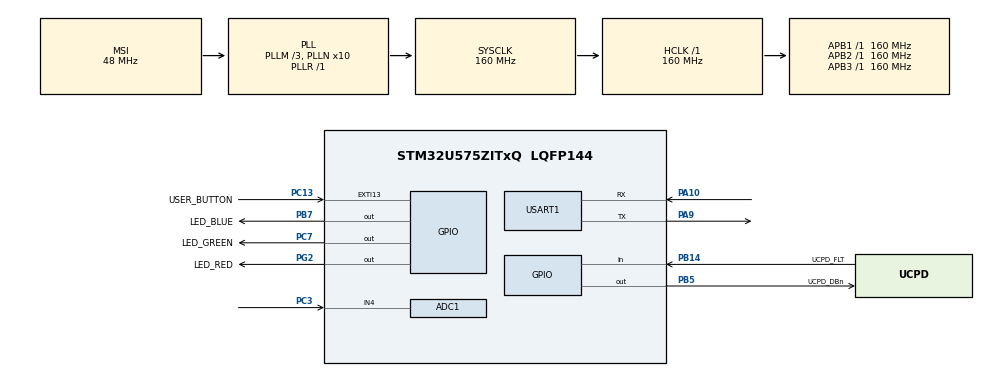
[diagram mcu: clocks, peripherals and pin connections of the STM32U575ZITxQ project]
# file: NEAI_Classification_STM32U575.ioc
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ADC1.Channel-0\#ChannelRegularConversion=ADC_CHANNEL_4
ADC1.ClockPrescaler=ADC_CLOCK_ASYNC_DIV8
ADC1.EnableRegularConversion=ENABLE
ADC1.ExternalTrigConv=ADC_EXTERNALTRIG_T6_TRGO
ADC1.MonitoredBy-0\#ChannelRegularConversion=__NULL
ADC1.NbrOfConversion=1
ADC1.NbrOfConversionFlag=1
ADC1.OffsetNumber-0\#ChannelRegularConversion=ADC_OFFSET_NONE
ADC1.Rank-0\#ChannelRegularConversion=1
ADC1.Resolution=ADC_RESOLUTION_14B
ADC1.SamplingTime-0\#ChannelRegularConversion=ADC_SAMPLETIME_391CYCLES_5
ADC1.master=1
CORTEX_M33_NS.userName=CORTEX_M33
Mcu.Family=STM32U5
Mcu.Name=STM32U575ZITxQ
Mcu.Package=LQFP144
NVIC.ADC1_IRQn=true\:0\:0\:false\:false\:true\:true\:true\:true
NVIC.EXTI13_IRQn=true\:0\:0\:false\:false\:true\:true\:true\:true
NVIC.PriorityGroup=NVIC_PRIORITYGROUP_3
NVIC.TIM17_IRQn=true\:7\:0\:false\:false\:true\:false\:true\:true
NVIC.TimeBase=TIM17_IRQn
NVIC.TimeBaseIP=TIM17
PA10.Mode=Asynchronous
PA10.Signal=USART1_RX
PA11.Signal=USB_OTG_FS_DM
PA12.Signal=USB_OTG_FS_DP
PA13\ (JTMS/SWDIO).Signal=DEBUG_JTMS-SWDIO
PA14\ (JTCK/SWCLK).Signal=DEBUG_JTCK-SWCLK
PA15\ (JTDI).Signal=UCPD1_CC1
PA9.Mode=Asynchronous
PA9.Signal=USART1_TX
PB14.GPIO_Label=UCPD_FLT
PB14.Signal=GPIO_Input
PB15.Signal=UCPD1_CC2
PB3\ (JTDO/TRACESWO).Signal=DEBUG_JTDO-SWO
PB5.GPIO_Label=UCPD_DBn
PB5.Signal=GPIO_Output
PB7.GPIO_Label=LED_BLUE
PB7.Signal=GPIO_Output
PC13.GPIO_Label=USER_BUTTON
PC13.Signal=GPXTI13
PC14-OSC32_IN\ (PC14).Signal=RCC_OSC32_IN
PC15-OSC32_OUT\ (PC15).Signal=RCC_OSC32_OUT
PC2.GPIO_Label=VBUS_SENSE
PC2.Signal=ADC1_IN3
PC3.Mode=IN4-Single-Ended
PC3.Signal=ADC1_IN4
PC7.GPIO_Label=LED_GREEN
PC7.Signal=GPIO_Output
PG2.GPIO_Label=LED_RED
PG2.Signal=GPIO_Output
PWR.PowerMode=PWR_SMPS_SUPPLY
ProjectManager.HeapSize=0x200
ProjectManager.StackSize=0x400
ProjectManager.TargetToolchain=STM32CubeIDE
RCC.ADCFreq_Value=16000000
RCC.AHBFreq_Value=160000000
RCC.APB1Freq_Value=160000000
RCC.APB1TimFreq_Value=160000000
RCC.APB2Freq_Value=160000000
RCC.APB2TimFreq_Value=160000000
RCC.APB3Freq_Value=160000000
RCC.CortexFreq_Value=160000000
RCC.DACCLockSelectionVirtual=RCC_DAC1CLKSOURCE_LSI
RCC.DACCLockSelectionVirtualString=RCC_DAC1CLKSOURCE_LSI
RCC.EPOD_VALUE=48000000
RCC.HCLKFreq_Value=160000000
RCC.HSE_VALUE=16000000
RCC.HSI48_VALUE=48000000
RCC.HSI_VALUE=16000000
RCC.LSE_VALUE=32768
RCC.LSIDIV_VALUE=32000
RCC.MSIClockRange=RCC_MSIRANGE_0
RCC.MSI_VALUE=48000000
RCC.PLL1R=1
RCC.PLL2FRACN=0
RCC.PLL3FRACN=0
RCC.PLLFRACN=0
RCC.PLLM=3
RCC.PLLN=10
RCC.SYSCLKFreq_VALUE=160000000
RCC.SYSCLKSource=RCC_SYSCLKSOURCE_PLLCLK
RCC.USBFreq_Value=48000000
RCC.VCOOutputFreq_Value=160000000
TIM6.PeriodNoDither=999
TIM6.Prescaler=159
TIM6.TIM_MasterOutputTrigger=TIM_TRGO_UPDATE
USART1.VirtualMode-Asynchronous=VM_ASYNC
VP_ICACHE_VS_ICACHE.Mode=DirectMappedCache
VP_LPBAMQUEUE_VS_QUEUE.Mode=QUEUEMODE
VP_LPBAM_VS_SIG1.Mode=SmartRun
VP_LPBAM_VS_SIG4.Mode=LPDMA1
VP_PWR_VS_DBSignals.Mode=DisableDeadBatterySignals
VP_PWR_VS_LPOM.Mode=PowerOptimisation
VP_PWR_VS_SECSignals.Mode=Security/Privilege
VP_SYS_VS_tim17.Mode=TIM17
VP_TIM6_VS_ClockSourceINT.Mode=Enable_Timer
board=NUCLEO-U575ZI-Q

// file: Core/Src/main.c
/* USER CODE BEGIN Header */
/**
  ******************************************************************************
  * @file           : main.c
  * @brief          : Main program body
  ******************************************************************************
  * @attention
  *
  * Copyright (c) 2023 STMicroelectronics.
  * All rights reserved.
  *
  * This software is licensed under terms that can be found in the LICENSE file
  * in the root directory of this software component.
  * If no LICENSE file comes with this software, it is provided AS-IS.
  *
  ******************************************************************************
  */
/* USER CODE END Header */
#include "main.h"

/* USER CODE BEGIN Includes */

#include "stdio.h"
#include "NanoEdgeAI.h"
#include "knowledge.h"

/* USER CODE END Includes */

/* USER CODE BEGIN PTD */

typedef enum
{
  LOG,
  INFERENCE,
} States_t;

/* USER CODE END PTD */

/* USER CODE BEGIN PD */

#define SIGNAL_SIZE  (uint32_t)(DATA_INPUT_USER * AXIS_NUMBER)

/* USER CODE END PD */

ADC_HandleTypeDef hadc1;

TIM_HandleTypeDef htim6;

UART_HandleTypeDef huart1;

/* USER CODE BEGIN PV */

volatile States_t appState = INFERENCE;  /* FSM state */
volatile uint32_t sensorDataReady = RESET;
float input_user_buffer[SIGNAL_SIZE];

uint16_t id_class = 0; // Point to id class (see argument of neai_classification fct)
float input_user_buffer[DATA_INPUT_USER * AXIS_NUMBER]; // Buffer of input values
float output_class_buffer[CLASS_NUMBER]; // Buffer of class probabilities
const char *id2class[CLASS_NUMBER + 1] = { // Buffer for mapping class id to class name
	"unknown",
	"Fan_Off",
	"Speed_1",
	"Speed_2",
	"Speed_3",
	"Clogged",
};

/* USER CODE END PV */

void SystemClock_Config(void);
static void SystemPower_Config(void);
static void MX_GPIO_Init(void);
static void MX_USART1_UART_Init(void);
static void MX_ICACHE_Init(void);
static void MX_ADC1_Init(void);
static void MX_TIM6_Init(void);
/* USER CODE BEGIN PFP */

void FillBuffer(float* buffer, uint32_t size);
void PrintBuffer(float *buffer, uint32_t size);
void Log(void);
void Inference(void);

/* USER CODE END PFP */

/* USER CODE BEGIN 0 */

int _write(int fd, char * ptr, int len)
{
  HAL_UART_Transmit(&huart1,(uint8_t *)ptr,len,HAL_MAX_DELAY);
  return len;
}

/* USER CODE END 0 */

int main(void)
{

  /* MCU Configuration--------------------------------------------------------*/

  /* Reset of all peripherals, Initializes the Flash interface and the Systick. */
  HAL_Init();

  /* Configure the system clock */
  SystemClock_Config();

  /* Configure the System Power */
  SystemPower_Config();

  /* Initialize all configured peripherals */
  MX_GPIO_Init();
  MX_USART1_UART_Init();
  MX_ICACHE_Init();
  MX_ADC1_Init();
  MX_TIM6_Init();
  /* USER CODE BEGIN 2 */

  HAL_PWREx_EnableVddA();
  HAL_ADCEx_Calibration_Start(&hadc1,ADC_CALIB_OFFSET,ADC_SINGLE_ENDED);
  HAL_ADC_Start_IT(&hadc1);
  HAL_TIM_Base_Start(&htim6);

  enum neai_state error_code = neai_classification_init(knowledge);
  if (error_code!=NEAI_OK)
  {
    printf("Knowledge initialization ERROR: %d\r\n",error_code);
    Error_Handler();
  }
  else
  {
    printf("Knowledge initialization done\r\n");
  }

  /* USER CODE END 2 */

  /* Infinite loop */
  while (1)
  {

    /* USER CODE BEGIN 3 */

	switch (appState)
	{
	  case LOG:
	    Log();
	  	break;
	  case INFERENCE:
		Inference();
	    break;
	  default:
	    appState = INFERENCE;
	  	break;
	}

  }
  /* USER CODE END 3 */
}

void SystemClock_Config(void)
{
  RCC_OscInitTypeDef RCC_OscInitStruct = {0};
  RCC_ClkInitTypeDef RCC_ClkInitStruct = {0};

  /** Configure the main internal regulator output voltage
  */
  if (HAL_PWREx_ControlVoltageScaling(PWR_REGULATOR_VOLTAGE_SCALE1) != HAL_OK)
  {
    Error_Handler();
  }

  /** Initializes the CPU, AHB and APB buses clocks
  */
  RCC_OscInitStruct.OscillatorType = RCC_OSCILLATORTYPE_HSI|RCC_OSCILLATORTYPE_MSI;
  RCC_OscInitStruct.HSIState = RCC_HSI_ON;
  RCC_OscInitStruct.HSICalibrationValue = RCC_HSICALIBRATION_DEFAULT;
  RCC_OscInitStruct.MSIState = RCC_MSI_ON;
  RCC_OscInitStruct.MSICalibrationValue = RCC_MSICALIBRATION_DEFAULT;
  RCC_OscInitStruct.MSIClockRange = RCC_MSIRANGE_0;
  RCC_OscInitStruct.PLL.PLLState = RCC_PLL_ON;
  RCC_OscInitStruct.PLL.PLLSource = RCC_PLLSOURCE_MSI;
  RCC_OscInitStruct.PLL.PLLMBOOST = RCC_PLLMBOOST_DIV4;
  RCC_OscInitStruct.PLL.PLLM = 3;
  RCC_OscInitStruct.PLL.PLLN = 10;
  RCC_OscInitStruct.PLL.PLLP = 2;
  RCC_OscInitStruct.PLL.PLLQ = 2;
  RCC_OscInitStruct.PLL.PLLR = 1;
  RCC_OscInitStruct.PLL.PLLRGE = RCC_PLLVCIRANGE_1;
  RCC_OscInitStruct.PLL.PLLFRACN = 0;
  if (HAL_RCC_OscConfig(&RCC_OscInitStruct) != HAL_OK)
  {
    Error_Handler();
  }

  /** Initializes the CPU, AHB and APB buses clocks
  */
  RCC_ClkInitStruct.ClockType = RCC_CLOCKTYPE_HCLK|RCC_CLOCKTYPE_SYSCLK
                              |RCC_CLOCKTYPE_PCLK1|RCC_CLOCKTYPE_PCLK2
                              |RCC_CLOCKTYPE_PCLK3;
  RCC_ClkInitStruct.SYSCLKSource = RCC_SYSCLKSOURCE_PLLCLK;
  RCC_ClkInitStruct.AHBCLKDivider = RCC_SYSCLK_DIV1;
  RCC_ClkInitStruct.APB1CLKDivider = RCC_HCLK_DIV1;
  RCC_ClkInitStruct.APB2CLKDivider = RCC_HCLK_DIV1;
  RCC_ClkInitStruct.APB3CLKDivider = RCC_HCLK_DIV1;

  if (HAL_RCC_ClockConfig(&RCC_ClkInitStruct, FLASH_LATENCY_4) != HAL_OK)
  {
    Error_Handler();
  }
}

/**
  * @brief Power Configuration
  * @retval None
  */
static void SystemPower_Config(void)
{
  HAL_PWREx_EnableVddIO2();

  /*
   * Disable the internal Pull-Up in Dead Battery pins of UCPD peripheral
   */
  HAL_PWREx_DisableUCPDDeadBattery();

  /*
   * Switch to SMPS regulator instead of LDO
   */
  if (HAL_PWREx_ConfigSupply(PWR_SMPS_SUPPLY) != HAL_OK)
  {
    Error_Handler();
  }
}

static void MX_ADC1_Init(void)
{

  ADC_ChannelConfTypeDef sConfig = {0};

  /** Common config
  */
  hadc1.Instance = ADC1;
  hadc1.Init.ClockPrescaler = ADC_CLOCK_ASYNC_DIV8;
  hadc1.Init.Resolution = ADC_RESOLUTION_14B;
  hadc1.Init.GainCompensation = 0;
  hadc1.Init.ScanConvMode = ADC_SCAN_DISABLE;
  hadc1.Init.EOCSelection = ADC_EOC_SINGLE_CONV;
  hadc1.Init.LowPowerAutoWait = DISABLE;
  hadc1.Init.ContinuousConvMode = DISABLE;
  hadc1.Init.NbrOfConversion = 1;
  hadc1.Init.DiscontinuousConvMode = DISABLE;
  hadc1.Init.ExternalTrigConv = ADC_EXTERNALTRIG_T6_TRGO;
  hadc1.Init.ExternalTrigConvEdge = ADC_EXTERNALTRIGCONVEDGE_RISING;
  hadc1.Init.DMAContinuousRequests = DISABLE;
  hadc1.Init.TriggerFrequencyMode = ADC_TRIGGER_FREQ_HIGH;
  hadc1.Init.Overrun = ADC_OVR_DATA_PRESERVED;
  hadc1.Init.LeftBitShift = ADC_LEFTBITSHIFT_NONE;
  hadc1.Init.ConversionDataManagement = ADC_CONVERSIONDATA_DR;
  hadc1.Init.OversamplingMode = DISABLE;
  if (HAL_ADC_Init(&hadc1) != HAL_OK)
  {
    Error_Handler();
  }

  /** Configure Regular Channel
  */
  sConfig.Channel = ADC_CHANNEL_4;
  sConfig.Rank = ADC_REGULAR_RANK_1;
  sConfig.SamplingTime = ADC_SAMPLETIME_391CYCLES_5;
  sConfig.SingleDiff = ADC_SINGLE_ENDED;
  sConfig.OffsetNumber = ADC_OFFSET_NONE;
  sConfig.Offset = 0;
  if (HAL_ADC_ConfigChannel(&hadc1, &sConfig) != HAL_OK)
  {
    Error_Handler();
  }

}

static void MX_ICACHE_Init(void)
{

  /** Enable instruction cache in 1-way (direct mapped cache)
  */
  if (HAL_ICACHE_ConfigAssociativityMode(ICACHE_1WAY) != HAL_OK)
  {
    Error_Handler();
  }
  if (HAL_ICACHE_Enable() != HAL_OK)
  {
    Error_Handler();
  }

}

static void MX_TIM6_Init(void)
{

  TIM_MasterConfigTypeDef sMasterConfig = {0};

  htim6.Instance = TIM6;
  htim6.Init.Prescaler = 159;
  htim6.Init.CounterMode = TIM_COUNTERMODE_UP;
  htim6.Init.Period = 999;
  htim6.Init.AutoReloadPreload = TIM_AUTORELOAD_PRELOAD_DISABLE;
  if (HAL_TIM_Base_Init(&htim6) != HAL_OK)
  {
    Error_Handler();
  }
  sMasterConfig.MasterOutputTrigger = TIM_TRGO_UPDATE;
  sMasterConfig.MasterSlaveMode = TIM_MASTERSLAVEMODE_DISABLE;
  if (HAL_TIMEx_MasterConfigSynchronization(&htim6, &sMasterConfig) != HAL_OK)
  {
    Error_Handler();
  }

}

static void MX_USART1_UART_Init(void)
{

  huart1.Instance = USART1;
  huart1.Init.BaudRate = 115200;
  huart1.Init.WordLength = UART_WORDLENGTH_8B;
  huart1.Init.StopBits = UART_STOPBITS_1;
  huart1.Init.Parity = UART_PARITY_NONE;
  huart1.Init.Mode = UART_MODE_TX_RX;
  huart1.Init.HwFlowCtl = UART_HWCONTROL_NONE;
  huart1.Init.OverSampling = UART_OVERSAMPLING_16;
  huart1.Init.OneBitSampling = UART_ONE_BIT_SAMPLE_DISABLE;
  huart1.Init.ClockPrescaler = UART_PRESCALER_DIV1;
  huart1.AdvancedInit.AdvFeatureInit = UART_ADVFEATURE_NO_INIT;
  if (HAL_UART_Init(&huart1) != HAL_OK)
  {
    Error_Handler();
  }
  if (HAL_UARTEx_SetTxFifoThreshold(&huart1, UART_TXFIFO_THRESHOLD_1_8) != HAL_OK)
  {
    Error_Handler();
  }
  if (HAL_UARTEx_SetRxFifoThreshold(&huart1, UART_RXFIFO_THRESHOLD_1_8) != HAL_OK)
  {
    Error_Handler();
  }
  if (HAL_UARTEx_DisableFifoMode(&huart1) != HAL_OK)
  {
    Error_Handler();
  }

}

static void MX_GPIO_Init(void)
{
  GPIO_InitTypeDef GPIO_InitStruct = {0};

  /* GPIO Ports Clock Enable */
  __HAL_RCC_GPIOC_CLK_ENABLE();
  __HAL_RCC_GPIOB_CLK_ENABLE();
  __HAL_RCC_GPIOG_CLK_ENABLE();
  __HAL_RCC_GPIOA_CLK_ENABLE();

  /*Configure GPIO pin Output Level */
  HAL_GPIO_WritePin(LED_RED_GPIO_Port, LED_RED_Pin, GPIO_PIN_RESET);

  /*Configure GPIO pin Output Level */
  HAL_GPIO_WritePin(LED_GREEN_GPIO_Port, LED_GREEN_Pin, GPIO_PIN_RESET);

  /*Configure GPIO pin Output Level */
  HAL_GPIO_WritePin(GPIOB, UCPD_DBn_Pin|LED_BLUE_Pin, GPIO_PIN_RESET);

  /*Configure GPIO pin : USER_BUTTON_Pin */
  GPIO_InitStruct.Pin = USER_BUTTON_Pin;
  GPIO_InitStruct.Mode = GPIO_MODE_IT_RISING;
  GPIO_InitStruct.Pull = GPIO_NOPULL;
  HAL_GPIO_Init(USER_BUTTON_GPIO_Port, &GPIO_InitStruct);

  /*Configure GPIO pin : UCPD_FLT_Pin */
  GPIO_InitStruct.Pin = UCPD_FLT_Pin;
  GPIO_InitStruct.Mode = GPIO_MODE_INPUT;
  GPIO_InitStruct.Pull = GPIO_NOPULL;
  HAL_GPIO_Init(UCPD_FLT_GPIO_Port, &GPIO_InitStruct);

  /*Configure GPIO pin : PB15 */
  GPIO_InitStruct.Pin = GPIO_PIN_15;
  GPIO_InitStruct.Mode = GPIO_MODE_ANALOG;
  GPIO_InitStruct.Pull = GPIO_NOPULL;
  HAL_GPIO_Init(GPIOB, &GPIO_InitStruct);

  /*Configure GPIO pin : LED_RED_Pin */
  GPIO_InitStruct.Pin = LED_RED_Pin;
  GPIO_InitStruct.Mode = GPIO_MODE_OUTPUT_PP;
  GPIO_InitStruct.Pull = GPIO_NOPULL;
  GPIO_InitStruct.Speed = GPIO_SPEED_FREQ_LOW;
  HAL_GPIO_Init(LED_RED_GPIO_Port, &GPIO_InitStruct);

  /*Configure GPIO pin : LED_GREEN_Pin */
  GPIO_InitStruct.Pin = LED_GREEN_Pin;
  GPIO_InitStruct.Mode = GPIO_MODE_OUTPUT_PP;
  GPIO_InitStruct.Pull = GPIO_NOPULL;
  GPIO_InitStruct.Speed = GPIO_SPEED_FREQ_LOW;
  HAL_GPIO_Init(LED_GREEN_GPIO_Port, &GPIO_InitStruct);

  /*Configure GPIO pins : PA11 PA12 */
  GPIO_InitStruct.Pin = GPIO_PIN_11|GPIO_PIN_12;
  GPIO_InitStruct.Mode = GPIO_MODE_AF_PP;
  GPIO_InitStruct.Pull = GPIO_NOPULL;
  GPIO_InitStruct.Speed = GPIO_SPEED_FREQ_LOW;
  GPIO_InitStruct.Alternate = GPIO_AF10_USB;
  HAL_GPIO_Init(GPIOA, &GPIO_InitStruct);

  /*Configure GPIO pin : PA15 */
  GPIO_InitStruct.Pin = GPIO_PIN_15;
  GPIO_InitStruct.Mode = GPIO_MODE_ANALOG;
  GPIO_InitStruct.Pull = GPIO_NOPULL;
  HAL_GPIO_Init(GPIOA, &GPIO_InitStruct);

  /*Configure GPIO pins : UCPD_DBn_Pin LED_BLUE_Pin */
  GPIO_InitStruct.Pin = UCPD_DBn_Pin|LED_BLUE_Pin;
  GPIO_InitStruct.Mode = GPIO_MODE_OUTPUT_PP;
  GPIO_InitStruct.Pull = GPIO_NOPULL;
  GPIO_InitStruct.Speed = GPIO_SPEED_FREQ_LOW;
  HAL_GPIO_Init(GPIOB, &GPIO_InitStruct);

  /* EXTI interrupt init*/
  HAL_NVIC_SetPriority(EXTI13_IRQn, 0, 0);
  HAL_NVIC_EnableIRQ(EXTI13_IRQn);

}

/* USER CODE BEGIN 4 */

void FillBuffer(float* buffer, uint32_t size)
{
  uint32_t i = 0;
  uint32_t step = AXIS_NUMBER;

  while (i < size)
  {
    if (sensorDataReady!=RESET)
    {
      sensorDataReady = RESET;
      buffer[i] = (float)HAL_ADC_GetValue(&hadc1);
      i += step;
    }
  }
}

void PrintBuffer(float *buffer, uint32_t size)
{
  uint32_t i = 0;
  uint32_t step = AXIS_NUMBER;

  while (i < size)
  {
    if (i < size-step)
    {
      printf("%d ",(int)buffer[i]);
    }
    else
    {
      printf("%d\n",(int)buffer[i]);
    }
    i += step;
  }
}

void Log(void)
{
  FillBuffer(input_user_buffer,SIGNAL_SIZE);
  PrintBuffer(input_user_buffer,SIGNAL_SIZE);
}

void Inference(void)
{
  uint16_t id_class;

  FillBuffer(input_user_buffer,SIGNAL_SIZE);
  neai_classification(input_user_buffer,output_class_buffer,&id_class);
  printf("Class: %s [%u%%]\r\n",id2class[id_class],(uint)(output_class_buffer[id_class-1]*100));
}

void HAL_ADC_ConvCpltCallback(ADC_HandleTypeDef* hadc)
{
  sensorDataReady = SET;
}

void HAL_GPIO_EXTI_Callback(uint16_t GPIO_Pin)
{
  switch (GPIO_Pin)
  {
    case GPIO_PIN_13:
      if (appState==INFERENCE) { appState = LOG; }
      else { appState = INFERENCE; }
      break;
    default:
      break;
  }
}

/* USER CODE END 4 */

void HAL_TIM_PeriodElapsedCallback(TIM_HandleTypeDef *htim)
{
  if (htim->Instance == TIM17) {
    HAL_IncTick();
  }
}

void Error_Handler(void)
{
  __disable_irq();
  while (1)
  {
  }
}
